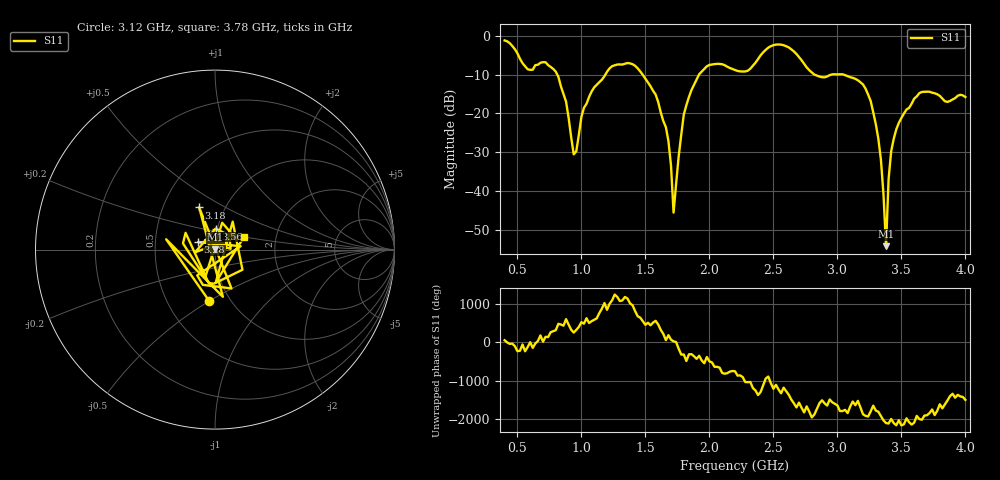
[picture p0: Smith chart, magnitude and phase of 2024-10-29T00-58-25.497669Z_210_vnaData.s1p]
!Created with skrf (http://scikit-rf.org).
# Hz S RI R 50.0
!freq ReS11 ImS11
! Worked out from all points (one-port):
!   181 points, 400 MHz to 4 GHz, reference 50 ohm
!   lowest |S11| = -54.2 dB at 3.38 GHz (marker M1), VSWR 1.00, Z = 50.1 + j0.176 ohm
!   |S11| at or under -10 dB: 811 MHz to 1.188 GHz (376.6 MHz wide, 37.7 % of centre); 1.478 GHz to 1.919 GHz (441.3 MHz wide, 26 % of centre); 3.045 GHz to end of sweep (the widest 3 of 4)
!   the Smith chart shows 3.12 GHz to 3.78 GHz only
!   S11 on the Smith chart (normalised r, x): 3.12 GHz: 0.80, -0.50; 3.18 GHz: 0.76, +0.38; 3.28 GHz: 0.83, +0.07; 3.56 GHz: 0.98, +0.23; 3.78 GHz: 1.37, +0.20
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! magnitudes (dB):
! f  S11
! 400 MHz  -1.2
! 580 MHz  -8.6
! 780 MHz  -8.6
! 860 MHz  -15.1
! 940 MHz  -30.5
! 1.08 GHz  -14.4
! 1.3 GHz  -7.4
! 1.58 GHz  -15.2
! 1.68 GHz  -27.2
! 1.72 GHz  -45.5
! 1.76 GHz  -31.0
! 1.8 GHz  -20.3
! 1.92 GHz  -9.9
! 2.2 GHz  -8.9
! 2.5 GHz  -2.5
! 2.66 GHz  -4.1
! 2.82 GHz  -10.0
! 3.1 GHz  -10.7
! 3.12 GHz  -10.9
! 3.18 GHz  -12.0
! 3.28 GHz  -19.7
! 3.34 GHz  -31.9
! 3.38 GHz  -54.2
! 3.4 GHz  -36.9
! 3.42 GHz  -29.8
! 3.56 GHz  -18.6
! 3.78 GHz  -15.1
! 4 GHz  -15.8
